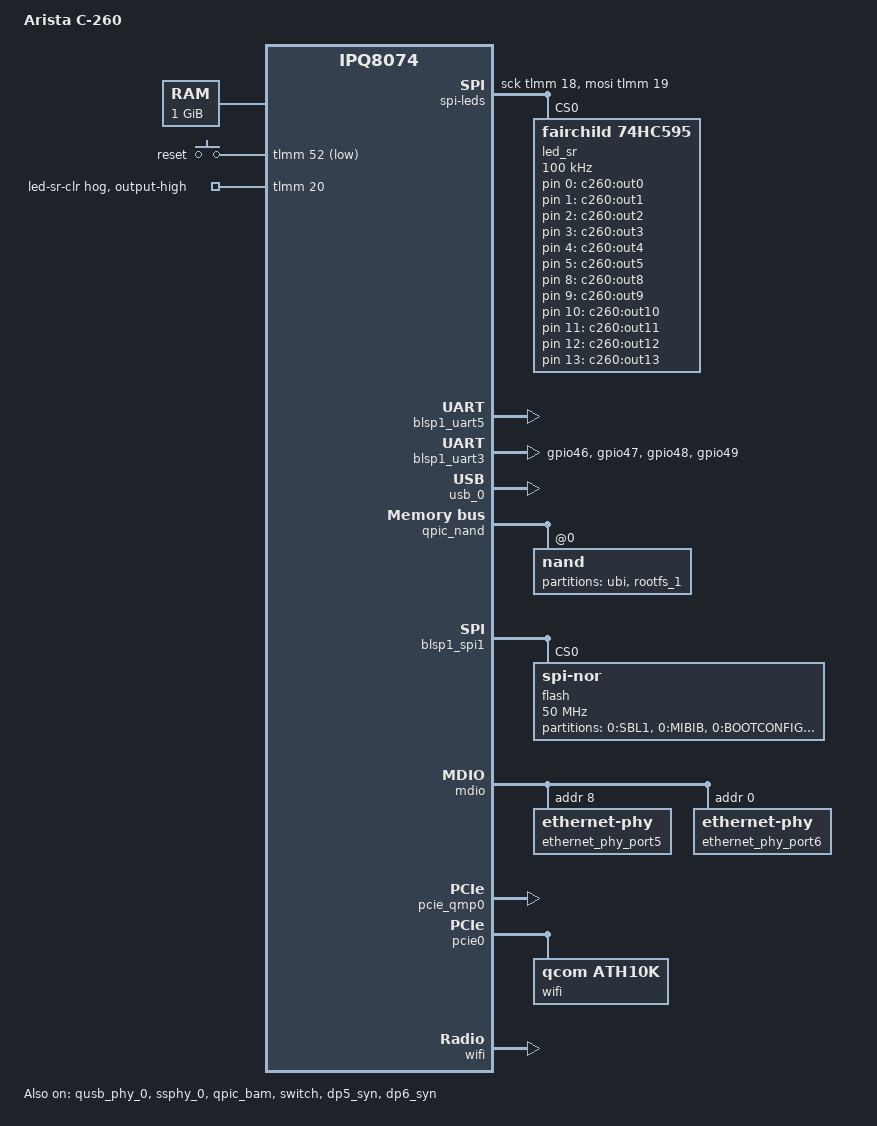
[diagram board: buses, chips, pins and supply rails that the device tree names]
// SPDX-License-Identifier: GPL-2.0-or-later
/*
 * Arista C-260 -- Qualcomm IPQ8078A based campus access point
 *
 * The vendor device tree is Qualcomm's HK01 reference with Arista's switch
 * values in it: model "Qualcomm Technologies, Inc. IPQ807x/AP-HK01-C1",
 * compatible "qcom,ipq807x-hk01", board-id <8 0>, machid 0x8010000. The kernel
 * names the part IPQ8078A, SoC version 2.0. 1 GiB DDR4; 32 MiB SPI NOR
 * (MX25U25635F) and 512 MiB NAND (Macronix MX30UF4G18AB).
 *
 * Here: the console, both 5 GbE ports, the IPQ8074's own 2.4 and 5 GHz
 * radios, the QCA988x third radio on PCIe 0, the LEDs (a 74LV164 chain on
 * gpio18-20), the button (gpio52, active low), USB, and the UART of the
 * Bluetooth controller (a CSR8811, blsp1_uart3, gpio46-49; its enable,
 * gpio51, is driven by arista-c260-bluetooth). The board has no
 * TPM: the C-360's TPM bus is disabled in the vendor tree, and the pin the
 * C-360 uses for it is the button here.
 *
 * Flash: OpenWrt lives in NAND slot 0 ("ubi": kernel, rootfs and rootfs_data
 * volumes, as sysupgrade writes them); Arista stays in slot 1 and in the SPI
 * NOR, as the fallback and as the source of the IPQ8074 board data. Only slot
 * 0 and U-Boot's environment (0:APPSBLENV, for fw_setenv) can be written;
 * every other partition is read-only, ART (calibration and MACs) above all.
 */

/dts-v1/;

#include "ipq8074.dtsi"
#include "ipq8074-hk-cpu.dtsi"
#include "ipq8074-ess.dtsi"
#include <dt-bindings/gpio/gpio.h>
#include <dt-bindings/input/input.h>

/ {
	model = "Arista C-260";
	/* "qcom,ipq8074" for qcom-cpufreq-nvmem, as on the C-360. */
	compatible = "arista,c260", "qcom,ipq8074";

	/*
	 * msm_serial numbers a UART by its alias: without serial1, the
	 * Bluetooth UART (probed first) takes ttyMSM0 from the console.
	 */
	aliases {
		serial0 = &blsp1_uart5;
		serial1 = &blsp1_uart3;
	};

	chosen {
		stdout-path = "serial0:115200n8";
		bootargs = "console=ttyMSM0,115200n8 rootwait pcie_ports=compat";
	};

	/* 1 GiB at 0x40000000. */
	memory@40000000 {
		device_type = "memory";
		reg = <0x0 0x40000000 0x0 0x40000000>;
	};

	/*
	 * The vendor tree's spans beyond what ipq8074.dtsi reserves (bootloader,
	 * sbl, smem and tz): U-Boot has loaded NSS firmware into the first, and
	 * the Wi-Fi spans belong to the radios' firmware. wifi_dump covers the
	 * vendor's overlapping wigig_dump, and the QCN9000's vendor base-addr.
	 */
	reserved-memory {
		#address-cells = <2>;
		#size-cells = <2>;
		ranges;

		nss@40000000 {
			reg = <0x0 0x40000000 0x0 0x1000000>;
			no-map;
		};

		tzapp@4a400000 {
			reg = <0x0 0x4a400000 0x0 0x200000>;
			no-map;
		};

		wcnss@4b000000 {
			reg = <0x0 0x4b000000 0x0 0x5f00000>;
			no-map;
		};

		q6_etr_dump@50f00000 {
			reg = <0x0 0x50f00000 0x0 0x100000>;
			no-map;
		};

		m3_dump@51000000 {
			reg = <0x0 0x51000000 0x0 0x100000>;
			no-map;
		};

		wifi_dump@51100000 {
			reg = <0x0 0x51100000 0x0 0x600000>;
			no-map;
		};
	};
};

/* The console: ttyMSM0, by its serial0 alias. */
&blsp1_uart5 {
	status = "okay";
};

&blsp1_uart1 {
	status = "disabled";
};

/* The Bluetooth controller, a CSR8811 (Arista ships its csr8x11 patch). */
&blsp1_uart3 {
	pinctrl-0 = <&ble_uart_pins>;
	pinctrl-names = "default";
	status = "okay";
};

&qusb_phy_0 {
	status = "okay";
};

&ssphy_0 {
	status = "okay";
};

&usb_0 {
	status = "okay";
};

&blsp1_uart6 {
	status = "disabled";
};

&sdhc_1 {
	status = "disabled";
};

&qpic_bam {
	status = "okay";
};

&qpic_nand {
	status = "okay";

	nand@0 {
		reg = <0>;
		nand-ecc-strength = <4>;
		nand-ecc-step-size = <512>;
		nand-bus-width = <8>;

		partitions {
			compatible = "fixed-partitions";
			#address-cells = <1>;
			#size-cells = <1>;

			partition@0 {
				label = "ubi";
				reg = <0x0 0x10000000>;
			};

			partition@10000000 {
				label = "rootfs_1";
				reg = <0x10000000 0x10000000>;
				read-only;
			};
		};
	};
};

&blsp1_spi1 {
	status = "okay";

	flash@0 {
		reg = <0>;
		compatible = "jedec,spi-nor";
		spi-max-frequency = <50000000>;

		partitions {
			compatible = "fixed-partitions";
			#address-cells = <1>;
			#size-cells = <1>;

			partition@0 {
				label = "0:SBL1";
				reg = <0x0 0x50000>;
				read-only;
			};

			partition@50000 {
				label = "0:MIBIB";
				reg = <0x50000 0x10000>;
				read-only;
			};

			partition@60000 {
				label = "0:BOOTCONFIG";
				reg = <0x60000 0x20000>;
				read-only;
			};

			partition@80000 {
				label = "0:BOOTCONFIG1";
				reg = <0x80000 0x20000>;
				read-only;
			};

			partition@a0000 {
				label = "0:QSEE";
				reg = <0xa0000 0x180000>;
				read-only;
			};

			partition@220000 {
				label = "0:QSEE_1";
				reg = <0x220000 0x180000>;
				read-only;
			};

			partition@3a0000 {
				label = "0:DEVCFG";
				reg = <0x3a0000 0x10000>;
				read-only;
			};

			partition@3b0000 {
				label = "0:DEVCFG_1";
				reg = <0x3b0000 0x10000>;
				read-only;
			};

			partition@3c0000 {
				label = "0:APDP";
				reg = <0x3c0000 0x10000>;
				read-only;
			};

			partition@3d0000 {
				label = "0:APDP_1";
				reg = <0x3d0000 0x10000>;
				read-only;
			};

			partition@3e0000 {
				label = "0:RPM";
				reg = <0x3e0000 0x40000>;
				read-only;
			};

			partition@420000 {
				label = "0:RPM_1";
				reg = <0x420000 0x40000>;
				read-only;
			};

			partition@460000 {
				label = "0:CDT";
				reg = <0x460000 0x10000>;
				read-only;
			};

			partition@470000 {
				label = "0:CDT_1";
				reg = <0x470000 0x10000>;
				read-only;
			};

			partition@480000 {
				label = "0:APPSBLENV";
				reg = <0x480000 0x10000>;
			};

			partition@490000 {
				label = "0:APPSBL";
				reg = <0x490000 0x100000>;
				read-only;
			};

			partition@590000 {
				label = "0:APPSBL_1";
				reg = <0x590000 0x100000>;
				read-only;
			};

			partition@690000 {
				label = "0:ART";
				reg = <0x690000 0x40000>;
				read-only;

				nvmem-layout {
					compatible = "fixed-layout";
					#address-cells = <1>;
					#size-cells = <1>;

					/*
					 * ART starts with six MACs, U-Boot's ethaddr to
					 * eth5addr: the first four are Qualcomm's 00:03:7f
					 * placeholders, the last two Arista's own, for
					 * switch ports 5 and 6 (the C-360 has its own at 0x0
					 * and 0x6).
					 */
					macaddr_art_18: macaddr@18 {
						reg = <0x18 0x6>;
					};

					macaddr_art_1e: macaddr@1e {
						reg = <0x1e 0x6>;
					};

					/*
					 * The QCA988x's calibration, as Arista's
					 * read_caldata_to_fs.sh takes it for HK01
					 * (2116 bytes at 208896).
					 */
					cal_art_33000: calibration@33000 {
						reg = <0x33000 0x844>;
					};
				};
			};

			partition@6d0000 {
				label = "0:ETHPHYFW";
				reg = <0x6d0000 0x80000>;
				read-only;
			};

			partition@750000 {
				label = "0:HLOS";
				reg = <0x750000 0x800000>;
				read-only;
			};

			partition@f50000 {
				label = "0:HLOS_1";
				reg = <0xf50000 0x800000>;
				read-only;
			};

			partition@1750000 {
				label = "CONFIG";
				reg = <0x1750000 0x400000>;
				read-only;
			};

			partition@1b50000 {
				label = "LOGGING";
				reg = <0x1b50000 0x100000>;
				read-only;
			};

			partition@1c50000 {
				label = "RESERVED";
				reg = <0x1c50000 0x3b0000>;
				read-only;
			};
		};
	};
};

/* Two 5 GbE ports, as the C-360's two 10 GbE: Aquantia AQR114C PHYs at MDIO 8
 * and 0, on switch ports 5 and 6, each over USXGMII through its own Uniphy.
 * U-Boot loads the PHYs' firmware from 0:ETHPHYFW before Linux starts. */
&mdio {
	status = "okay";

	ethernet_phy_port5: ethernet-phy@8 {
		reg = <0x08>;
	};

	ethernet_phy_port6: ethernet-phy@0 {
		reg = <0x00>;
	};
};

&switch {
	status = "okay";

	switch_lan_bmp = <0x20>;	/* BIT(5) */
	switch_wan_bmp = <0x40>;	/* BIT(6) */

	qcom,port_phyinfo {
		port@4 {
			port_id = <5>;
			phy_address = <0x08>;
			ethernet-phy-ieee802.3-c45;
			mdiobus = <&mdio>;
		};

		port@5 {
			port_id = <6>;
			phy_address = <0x00>;
			ethernet-phy-ieee802.3-c45;
			mdiobus = <&mdio>;
		};
	};
};

&edma {
	status = "okay";
};

&dp5_syn {
	status = "okay";
	nvmem-cells = <&macaddr_art_18>;
	nvmem-cell-names = "mac-address";
	phy-handle = <&ethernet_phy_port5>;
};

&dp6_syn {
	status = "okay";
	nvmem-cells = <&macaddr_art_1e>;
	nvmem-cell-names = "mac-address";
	phy-handle = <&ethernet_phy_port6>;
};

/*
 * The scan radio: one card on PCIe 0, a Qualcomm Atheros QCA988x (168c:003c,
 * ath10k), Gen 1 x1. The vendor tree's qcom,cnss-qcn9000 nodes are disabled
 * reference leftovers. PCIe 1 links nothing.
 */
&pcie_qmp0 {
	status = "okay";
};

&pcie0 {
	status = "okay";
	perst-gpios = <&tlmm 58 GPIO_ACTIVE_LOW>;

	pcie@0 {
		wifi@0,0 {
			compatible = "qcom,ath10k";
			reg = <0x00010000 0 0 0 0>;
			nvmem-cells = <&cal_art_33000>;
			nvmem-cell-names = "calibration";
		};
	};
};

&wifi {
	status = "okay";
	qcom,ath11k-calibration-variant = "Arista-C260";
};

&tlmm {
	ble_uart_pins: ble-uart-state {
		pins = "gpio46", "gpio47", "gpio48", "gpio49";
		function = "blsp2_uart";
		drive-strength = <8>;
		bias-disable;
	};

	button_pins: button-state {
		pins = "gpio52";
		function = "gpio";
		drive-strength = <8>;
		bias-pull-up;
	};

	/* The LED chain's clear line, held up, as on the C-360. */
	led-sr-clr-hog {
		gpio-hog;
		gpios = <20 GPIO_ACTIVE_HIGH>;
		output-high;
		line-name = "led-sr-clr";
	};
};

/ {
	keys {
		compatible = "gpio-keys";
		pinctrl-0 = <&button_pins>;
		pinctrl-names = "default";

		/* "wps" in the vendor tree; the panel's only button. */
		reset {
			label = "reset";
			gpios = <&tlmm 52 GPIO_ACTIVE_LOW>;
			linux,code = <KEY_RESTART>;
		};
	};

	/*
	 * The LEDs hang off a 74LV164 chain clocked by gpio18 (clock) and gpio19
	 * (data), as on the C-360. Arista's ledc channel n drives output
	 * 15 - qcom,ledc_blink_indices[n] (checked against every known C-360
	 * LED). Its led daemon uses channels 11 and 8 for power (outputs 12 and
	 * 13) and five pairs for its indicators: outputs 8/9, 10/11, 4/5, 2/3 and
	 * 0/1. Which indicator is which, and the colours, are named once seen on
	 * the panel: until then each is named by its output.
	 */
	spi-leds {
		compatible = "spi-gpio";
		#address-cells = <1>;
		#size-cells = <0>;
		sck-gpios = <&tlmm 18 GPIO_ACTIVE_HIGH>;
		mosi-gpios = <&tlmm 19 GPIO_ACTIVE_HIGH>;

		led_sr: gpio@0 {
			compatible = "fairchild,74hc595";
			reg = <0>;
			spi-max-frequency = <100000>;
			gpio-controller;
			#gpio-cells = <2>;
			registers-number = <2>;
		};
	};

	leds {
		compatible = "gpio-leds";

		led-0 {
			label = "c260:out0";
			gpios = <&led_sr 0 GPIO_ACTIVE_HIGH>;
		};

		led-1 {
			label = "c260:out1";
			gpios = <&led_sr 1 GPIO_ACTIVE_HIGH>;
		};

		led-2 {
			label = "c260:out2";
			gpios = <&led_sr 2 GPIO_ACTIVE_HIGH>;
		};

		led-3 {
			label = "c260:out3";
			gpios = <&led_sr 3 GPIO_ACTIVE_HIGH>;
		};

		led-4 {
			label = "c260:out4";
			gpios = <&led_sr 4 GPIO_ACTIVE_HIGH>;
		};

		led-5 {
			label = "c260:out5";
			gpios = <&led_sr 5 GPIO_ACTIVE_HIGH>;
		};

		led-8 {
			label = "c260:out8";
			gpios = <&led_sr 8 GPIO_ACTIVE_HIGH>;
		};

		led-9 {
			label = "c260:out9";
			gpios = <&led_sr 9 GPIO_ACTIVE_HIGH>;
		};

		led-10 {
			label = "c260:out10";
			gpios = <&led_sr 10 GPIO_ACTIVE_HIGH>;
		};

		led-11 {
			label = "c260:out11";
			gpios = <&led_sr 11 GPIO_ACTIVE_HIGH>;
		};

		led-12 {
			label = "c260:out12";
			gpios = <&led_sr 12 GPIO_ACTIVE_HIGH>;
		};

		led-13 {
			label = "c260:out13";
			gpios = <&led_sr 13 GPIO_ACTIVE_HIGH>;
		};
	};
};
